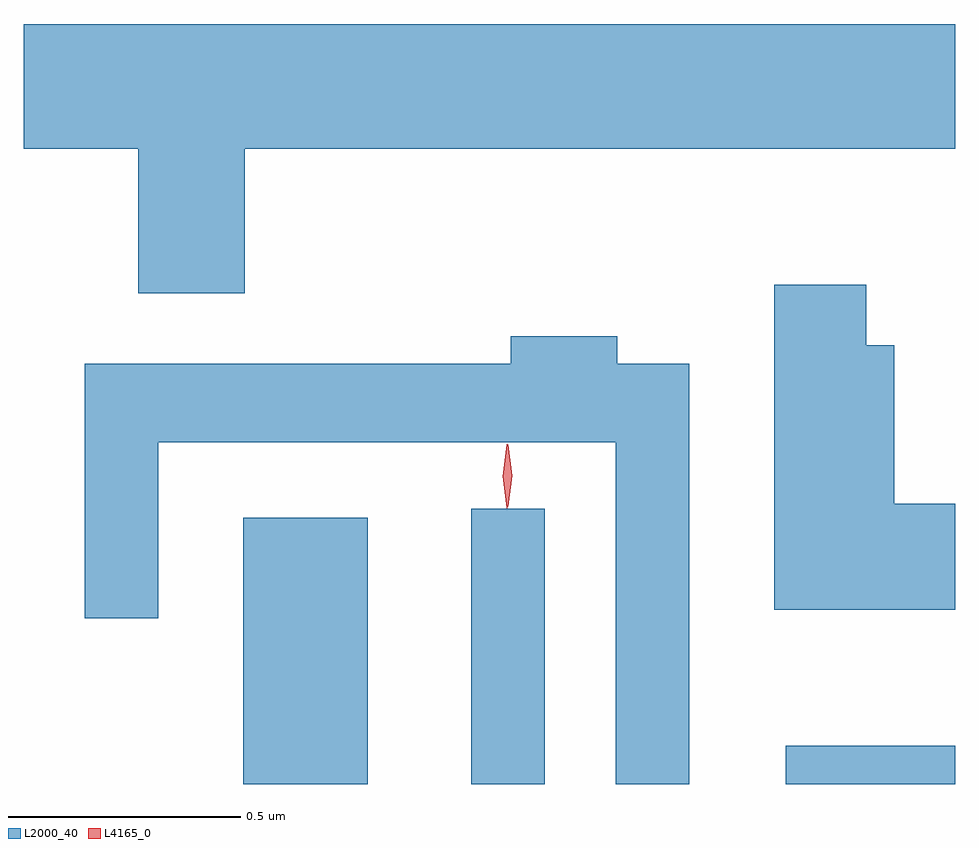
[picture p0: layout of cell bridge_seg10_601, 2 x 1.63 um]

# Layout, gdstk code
import gdstk
lib = gdstk.Library(unit=1e-6, precision=1e-09)
def R(c, l, rs):  # rectangles x0, y0, x1, y1
    for r in rs: c.add(gdstk.rectangle(r[:2], r[2:], *l))
def P(c, l, *ps):  # polygons
    for p in ps: c.add(gdstk.Polygon(p, *l))
L2000_40 = (2000, 40)
L4165_0 = (4165, 0)

bridge_seg10_601 = lib.new_cell('bridge_seg10_601')
R(bridge_seg10_601, L2000_40, [(782.106,2176.932,782.374,2177.504), (782.596,2176.932,782.754,2177.523), (783.271,2176.932,783.635,2177.014)])
P(bridge_seg10_601, L2000_40, [(782.109,2178.296),(783.635,2178.296),(783.635,2178.564),(781.635,2178.564),(781.635,2178.296),(781.881,2178.296),(781.881,2177.986),(782.109,2177.986)],
  [(783.635,2177.534),(783.504,2177.534),(783.504,2177.874),(783.444,2177.874),(783.444,2178.004),(783.246,2178.004),(783.246,2177.306),(783.635,2177.306)],
  [(783.064,2177.834),(782.909,2177.834),(782.909,2177.894),(782.681,2177.894),(782.681,2177.834),(781.766,2177.834),(781.766,2177.288),(781.924,2177.288),(781.924,2177.666),(782.906,2177.666),(782.906,2176.932),(783.064,2176.932)])
P(bridge_seg10_601, L4165_0, [(782.672,2177.524),(782.663,2177.593),(782.672,2177.662),(782.673,2177.663),(782.673,2177.662),(782.683,2177.593),(782.673,2177.524),(782.673,2177.524)],
  [(782.674,2177.527),(782.674,2177.528),(782.664,2177.594),(782.674,2177.66),(782.674,2177.66),(782.675,2177.66),(782.684,2177.594),(782.675,2177.528)])

lib.write_gds('bridge_seg10_601.gds')
